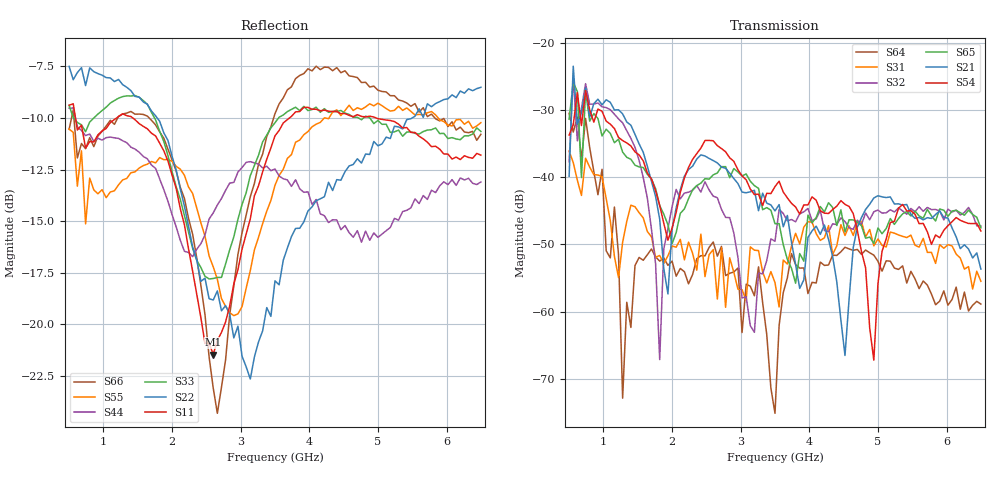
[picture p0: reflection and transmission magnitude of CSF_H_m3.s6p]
!Keysight Technologies,M9804A,MY58100912,A.14.10.03
!Date: Thursday, April 27, 2023 10:28:33
!Correction: S11(C  6-Port  )
!S12(C  6-Port  )
!S13(C  6-Port  )
!S14(C  6-Port  )
!S15(C  6-Port  )
!S16(C  6-Port  )
!S21(C  6-Port  )
!S22(C  6-Port  )
!S23(C  6-Port  )
!S24(C  6-Port  )
!S25(C  6-Port  )
!S26(C  6-Port  )
!S31(C  6-Port  )
!S32(C  6-Port  )
!S33(C  6-Port  )
!S34(C  6-Port  )
!S35(C  6-Port  )
!S36(C  6-Port  )
!S41(C  6-Port  )
!S42(C  6-Port  )
!S43(C  6-Port  )
!S44(C  6-Port  )
!S45(C  6-Port  )
!S46(C  6-Port  )
!S51(C  6-Port  )
!S52(C  6-Port  )
!S53(C  6-Port  )
!S54(C  6-Port  )
!S55(C  6-Port  )
!S56(C  6-Port  )
!S61(C  6-Port  )
!S62(C  6-Port  )
!S63(C  6-Port  )
!S64(C  6-Port  )
!S65(C  6-Port  )
!S66(C  6-Port  )
!S6P File: Measurement: :
# Hz S  RI  R 50
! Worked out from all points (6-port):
!   101 points, 500 MHz to 6.5 GHz, reference 50 ohm
!   strongest paths, dB at 500 MHz, 2 GHz, 3.5 GHz, 5 GHz, 6.5 GHz:
!     S54: -33.8, -47.6, -41.4, -55.8, -48.0
!     S21: -39.9, -47.8, -45.0, -42.8, -53.7
!     S65: -31.4, -49.9, -46.9, -47.6, -47.5
!     S32: -37.7, -44.4, -49.5, -44.9, -47.3
!     S31: -36.1, -50.2, -55.7, -49.2, -55.5
!     S64: -30.5, -52.5, -75.1, -52.5, -58.9
!   lowest |S11| = -21.5 dB at 2.6 GHz (marker M1), VSWR 1.18, Z = 42.5 + j2.16 ohm
!   |S11| at or under -10 dB: 592.4 MHz to 1.192 GHz (599.5 MHz wide, 67.2 % of centre); 1.428 GHz to 3.711 GHz (2.283 GHz wide, 88.9 % of centre); 4.974 GHz to end of sweep
